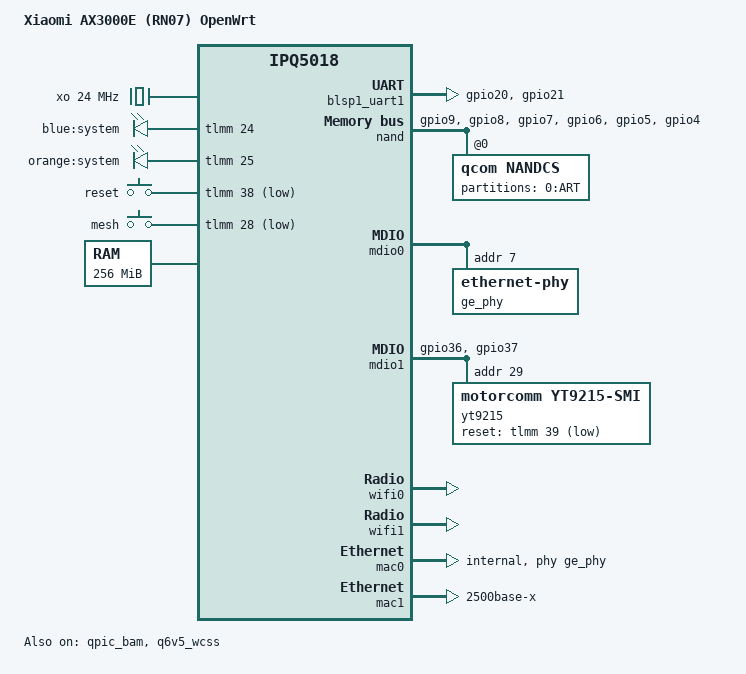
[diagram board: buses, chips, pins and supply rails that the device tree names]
// SPDX-License-Identifier: GPL-2.0-or-later
// Resolved historical device tree. Upstream attribution: NOTICE.md.















/dts-v1/;











/ {
 #address-cells = <2>;
 #size-cells = <2>;
 interrupt-parent = <&intc>;

 clocks {
  sleep_clk: sleep-clk {
   compatible = "fixed-clock";
   clock-frequency = <32000>;
   #clock-cells = <0>;
  };

  xo: xo {
   compatible = "fixed-clock";
   clock-frequency = <24000000>;
   #clock-cells = <0>;
  };
 };

 cpus: cpus {
  #address-cells = <1>;
  #size-cells = <0>;

  CPU0: cpu@0 {
   device_type = "cpu";
   compatible = "arm,cortex-a53";
   reg = <0x0>;
   enable-method = "psci";
   qcom,acc = <&acc0>;
   next-level-cache = <&L2_0>;
   clocks = <&apcs_glb 1>;
   clock-names = "cpu";
   operating-points-v2 = <&cpu_opp_table>;
  };

  CPU1: cpu@1 {
   device_type = "cpu";
   compatible = "arm,cortex-a53";
   enable-method = "psci";
   reg = <0x1>;
   qcom,acc = <&acc1>;
   next-level-cache = <&L2_0>;
   clocks = <&apcs_glb 1>;
   clock-names = "cpu";
   operating-points-v2 = <&cpu_opp_table>;
  };

  L2_0: l2-cache {
   compatible = "cache";
   cache-level = <0x2>;
  };
 };

 cpu_opp_table: opp-table {
  compatible = "operating-points-v2";
  opp-shared;

  opp-800000000 {
   opp-hz = /bits/ 64 <800000000>;
   opp-microvolt = <1100>;
   clock-latency-ns = <200000>;
  };

  opp-1008000000 {
   opp-hz = /bits/ 64 <1008000000>;
   opp-microvolt = <1100>;
   clock-latency-ns = <200000>;
  };
 };

 pmuv8: pmu {
  compatible = "arm,cortex-a53-pmu";
  interrupts = <1 7 ((((1 << (4)) - 1) << 8) |
      4)>;
 };

 psci: psci {
  compatible = "arm,psci-1.0";
  method = "smc";
 };

 firmware {
  scm {
   compatible = "qcom,scm";
   qcom,dload-mode = <&tcsr_boot_misc 0>;
  };
 };

 reserved-memory {
  #address-cells = <2>;
  #size-cells = <2>;
  ranges;

  smem_region:smem@4ab00000 {
   no-map;
   reg = <0x0 0x4ab00000 0x0 0x00100000>;
  };

  tz: tz@4ac00000 {
   reg = <0x0 0x4ac00000 0x0 0x00400000>;
   no-map;
  };
 };

 tcsr_mutex: hwlock {
  compatible = "qcom,tcsr-mutex";
  syscon = <&tcsr_mutex_regs 0 0x80>;
  #hwlock-cells = <1>;
 };

 smem {
  compatible = "qcom,smem";
  memory-region = <&smem_region>;
  hwlocks = <&tcsr_mutex 0>;
 };

 soc: soc {
  #address-cells = <1>;
  #size-cells = <1>;
  ranges = <0 0 0 0xffffffff>;
  dma-ranges;
  compatible = "simple-bus";

  tlmm: pinctrl@1000000 {
   compatible = "qcom,ipq5018-pinctrl";
   reg = <0x01000000 0x300000>;
   interrupts = <0 208 4>;
   gpio-controller;
   #gpio-cells = <2>;
   gpio-ranges = <&tlmm 0 0 80>;
   interrupt-controller;
   #interrupt-cells = <2>;

   serial_1_pins: serial1-pinmux {
    pins = "gpio31", "gpio32", "gpio33", "gpio34";
    function = "blsp1_uart1";
    drive-strength = <8>;
    bias-pull-down;
   };
  };

  gcc: gcc@1800000 {
   compatible = "qcom,gcc-ipq5018";
   reg = <0x01800000 0x80000>;
   clocks = <&xo>, <&sleep_clk>;
   clock-names = "xo", "sleep_clk";
   #clock-cells = <1>;
   #reset-cells = <1>;
  };

  tcsr_boot_misc: syscon@193d100 {
   compatible = "syscon";
   reg = <0x0193d100 0x4>;
  };

  tcsr_mutex_regs: syscon@1905000 {
   compatible = "syscon";
   reg = <0x01905000 0x8000>;
  };

  blsp1_uart1: serial@78af000 {
   compatible = "qcom,msm-uartdm-v1.4", "qcom,msm-uartdm";
   reg = <0x078af000 0x200>;
   interrupts = <0 107 4>;
   clocks = <&gcc 33>,
    <&gcc 25>;
   clock-names = "core", "iface";
   status = "disabled";
  };

  intc: interrupt-controller@b000000 {
   compatible = "qcom,msm-qgic2";
   interrupt-controller;
   #interrupt-cells = <0x3>;
   reg = <0x0b000000 0x1000>,
    <0x0b002000 0x1000>,
    <0x0b001000 0x1000>,
    <0x0b004000 0x1000>;
   interrupts = <1 9 4>;
   ranges = <0x0 0xb00a000 0x1ffa>;

   v2m0: v2m@0 {
    compatible = "arm,gic-v2m-frame";
    msi-controller;
    reg = <0x0 0xffd>;
   };

   v2m1: v2m@1000 {
    compatible = "arm,gic-v2m-frame";
    msi-controller;
    reg = <0x1000 0xffd>;
   };
  };

  apcs_glb: mailbox@b111000 {
   compatible = "qcom,ipq5018-apcs-apps-global";
   reg = <0x0b111000 0x1000>;
   clocks = <&xo>, <&a53pll>;
   clock-names = "xo", "pll";

   #clock-cells = <1>;
   #mbox-cells = <1>;
  };

  a53pll: clock@b116000 {
   compatible = "qcom,ipq5018-a53pll";
   reg = <0x0b116000 0x40>;
   #clock-cells = <0>;
   clocks = <&xo>;
   clock-names = "xo";
  };

  acc0:clock-controller@b188000 {
   compatible = "qcom,arm-cortex-acc";
   reg = <0x0b188000 0x1000>;
  };

  acc1:clock-controller@b198000 {
   compatible = "qcom,arm-cortex-acc";
   reg = <0x0b198000 0x1000>;
  };

  timer {
   compatible = "arm,armv8-timer";
   interrupts = <1 2 ((((1 << (4)) - 1) << 8) | 8)>,
         <1 3 ((((1 << (4)) - 1) << 8) | 8)>,
         <1 4 ((((1 << (4)) - 1) << 8) | 8)>,
         <1 1 ((((1 << (4)) - 1) << 8) | 8)>;
  };

  timer@b120000 {
   #address-cells = <1>;
   #size-cells = <1>;
   ranges;
   compatible = "arm,armv7-timer-mem";
   reg = <0x0b120000 0x1000>;
   clock-frequency = <19200000>;

   frame@b120000 {
    frame-number = <0>;
    interrupts = <0 8 4>,
          <0 7 4>;
    reg = <0x0b121000 0x1000>,
          <0x0b122000 0x1000>;
   };

   frame@b123000 {
    frame-number = <1>;
    interrupts = <0 9 4>;
    reg = <0xb123000 0x1000>;
    status = "disabled";
   };

   frame@b124000 {
    frame-number = <2>;
    interrupts = <0 10 4>;
    reg = <0x0b124000 0x1000>;
    status = "disabled";
   };

   frame@b125000 {
    frame-number = <3>;
    interrupts = <0 11 4>;
    reg = <0x0b125000 0x1000>;
    status = "disabled";
   };

   frame@b126000 {
    frame-number = <4>;
    interrupts = <0 12 4>;
    reg = <0x0b126000 0x1000>;
    status = "disabled";
   };

   frame@b127000 {
    frame-number = <5>;
    interrupts = <0 13 4>;
    reg = <0x0b127000 0x1000>;
    status = "disabled";
   };

   frame@b128000 {
    frame-number = <6>;
    interrupts = <0 14 4>;
    reg = <0x0b128000 0x1000>;
    status = "disabled";
   };
  };

  qpic_bam: dma@7984000 {
   compatible = "qcom,bam-v1.7.0";
   reg = <0x7984000 0x1c000>;
   interrupts = <0 146 4>;
   clocks = <&gcc 103>;
   clock-names = "bam_clk";
   #dma-cells = <1>;
   qcom,ee = <0>;
   status = "disabled";
  };

  nand: qpic-nand@79b0000 {
   compatible = "qcom,ebi2-nandc-bam-v2.1.1";
   reg = <0x79b0000 0x10000>;
   #address-cells = <1>;
   #size-cells = <0>;
   clocks = <&gcc 104>,
    <&gcc 103>,
    <&gcc 105>;
   clock-names = "core", "aon", "io_macro";

   dmas = <&qpic_bam 0>,
    <&qpic_bam 1>,
    <&qpic_bam 2>,
    <&qpic_bam 3>;
   dma-names = "tx", "rx", "cmd", "status";

   qpic,io_macro_clk_rates = <24000000 100000000 200000000 320000000>;
   status = "disabled";

   nandcs@0 {
    compatible = "qcom,nandcs";
    reg = <0>;
    #address-cells = <1>;
    #size-cells = <1>;

    nand-ecc-strength = <4>;
    nand-ecc-step-size = <512>;
    nand-bus-width = <8>;
   };
  };

  mdio0: mdio@88000 {
   #address-cells = <1>;
   #size-cells = <0>;
   compatible = "qcom,ipq5018-mdio", "qcom,qca-mdio";
   reg = <0x88000 0x64>, <0x19475C4 0x4>;
   clocks = <&gcc 71>;
   clock-names = "gcc_mdio_ahb_clk";
   status = "disabled";
  };

  mdio1: mdio@90000 {
   #address-cells = <1>;
   #size-cells = <0>;
   compatible = "qcom,ipq5018-mdio";
   reg = <0x90000 0x64>;
   clocks = <&gcc 72>;
   clock-names = "gcc_mdio_ahb_clk";
   status = "disabled";
  };

  nss-dp-common {
   compatible = "qcom,nss-dp-common";
   qcom,tcsr-base = <0x01937000>;
  };

  ess-uniphy@98000 {
   compatible = "qcom,ess-uniphy";
   reg = <0x98000 0x800>;
   uniphy_access_mode = "local bus";
  };

  ess-instance {
   ess-switch@0x39c00000 {
    compatible = "qcom,ess-switch-ipq50xx";
    reg = <0x39c00000 0x200000>;
    switch_access_mode = "local bus";
    clocks = <&gcc 40>,
      <&gcc 41>,
      <&gcc 134>,
      <&gcc 136>,
      <&gcc 71>,
      <&gcc 72>,
      <&gcc 55>,
      <&gcc 58>,
      <&gcc 60>,
      <&gcc 63>,
      <&gcc 53>,
      <&gcc 54>,
      <&gcc 135>,
      <&gcc 137>,
      <&gcc 57>,
      <&gcc 59>,
      <&gcc 62>,
      <&gcc 64>,
      <&gcc 110>,
      <&gcc 112>,
      <&gcc 56>,
      <&gcc 61>;
    clock-names = "cmn_ahb_clk",
           "cmn_sys_clk",
           "uniphy_ahb_clk",
           "uniphy_sys_clk",
           "gcc_mdio0_ahb_clk",
           "gcc_mdio1_ahb_clk",
           "gcc_gmac0_cfg_clk",
           "gcc_gmac0_sys_clk",
           "gcc_gmac1_cfg_clk",
           "gcc_gmac1_sys_clk",
           "uniphy0_port1_rx_clk",
           "uniphy0_port1_tx_clk",
           "uniphy1_port5_rx_clk",
           "uniphy1_port5_tx_clk",
           "nss_port1_rx_clk",
           "nss_port1_tx_clk",
           "nss_port2_rx_clk",
           "nss_port2_tx_clk",
           "gcc_snoc_gmac0_ahb_clk",
           "gcc_snoc_gmac1_ahb_clk",
           "gcc_gmac0_ptp_clk",
           "gcc_gmac1_ptp_clk";
    resets = <&gcc 17>,
      <&gcc 93>,
      <&gcc 22>,
      <&gcc 25>,
      <&gcc 110>,
      <&gcc 111>;
    reset-names = "gephy_bcr_rst",
           "uniphy_bcr_rst",
           "gmac0_bcr_rst",
           "gmac1_bcr_rst",
           "uniphy1_soft_rst",
           "gephy_misc_rst";
   };
  };

  q6v5_wcss: remoteproc@cd00000 {
   compatible = "qcom,ipq5018-q6-mpd";
   #address-cells = <1>;
   #size-cells = <1>;
   ranges;

   reg = <0x0cd00000 0x4040>;

   interrupts-extended = <&intc 0 291 1>,
           <&wcss_smp2p_in 0 0>,
           <&wcss_smp2p_in 1 0>,
           <&wcss_smp2p_in 2 0>,
           <&wcss_smp2p_in 3 0>;
   interrupt-names = "wdog",
       "fatal",
       "ready",
       "handover",
       "stop-ack";

   resets = <&gcc 109>,
     <&gcc 100>,
     <&gcc 108>,
     <&gcc 11>;
   reset-names = "wcss_aon_reset",
          "wcss_reset",
          "wcss_q6_reset",
          "ce_reset";

   clocks = <&gcc 87>,
     <&gcc 146>,
     <&gcc 157>,
     <&gcc 145>,
     <&gcc 147>,
     <&gcc 85>,
     <&gcc 86>,
     <&gcc 88>,
     <&gcc 89>,
     <&gcc 148>;
   clock-names = "gcc_q6_axis_clk",
          "gcc_wcss_ahb_s_clk",
          "gcc_wcss_ecahb_clk",
          "gcc_wcss_acmt_clk",
          "gcc_wcss_axi_m_clk",
          "gcc_q6_axim_clk",
          "gcc_q6_axim2_clk",
          "gcc_q6_ahb_clk",
          "gcc_q6_ahb_s_clk",
          "gcc_wcss_axi_s_clk";

   qcom,smem-states = <&wcss_smp2p_out 0>,
        <&wcss_smp2p_out 1>;
   qcom,smem-state-names = "shutdown",
      "stop";

   glink-edge {
    interrupts = <0 179 1>;
    qcom,remote-pid = <1>;
    mboxes = <&apcs_glb 8>;

    qrtr_requests {
     qcom,glink-channels = "IPCRTR";
    };
   };
  };

  wifi0: wifi@c000000 {
   compatible = "qcom,cnss-qca5018", "qcom,ipq5018-wifi";
   reg = <0xc000000 0x1000000>;

   qcom,rproc = <&q6v5_wcss>;
   interrupts = <0 288 1>,
    <0 289 1>,
    <0 290 1>,
    <0 292 1>,
    <0 293 1>,
    <0 294 1>,
    <0 295 1>,
    <0 296 1>,
    <0 297 1>,
    <0 298 1>,
    <0 299 1>,
    <0 300 1>,
    <0 301 1>,
    <0 302 1>,
    <0 303 1>,
    <0 304 1>,
    <0 305 1>,
    <0 306 1>,
    <0 307 1>,
    <0 308 1>,
    <0 309 1>,
    <0 310 1>,
    <0 311 1>,
    <0 312 1>,
    <0 313 1>,

    <0 314 1>,
    <0 315 1>,
    <0 316 1>,
    <0 317 1>,
    <0 318 1>,
    <0 319 1>,
    <0 320 1>,
    <0 321 1>,
    <0 322 1>,
    <0 323 1>,
    <0 324 1>,
    <0 325 1>,

    <0 326 1>,

    <0 327 1>,
    <0 328 1>,
    <0 329 1>,
    <0 330 1>,
    <0 331 1>,
    <0 332 1>,

    <0 333 1>,
    <0 334 1>,
    <0 335 1>,
    <0 342 1>,
    <0 336 1>,
    <0 337 1>,
    <0 338 1>,
    <0 339 1>;

   interrupt-names = "misc-pulse1",
     "misc-latch",
     "sw-exception",
     "ce0",
     "ce1",
     "ce2",
     "ce3",
     "ce4",
     "ce5",
     "ce6",
     "ce7",
     "ce8",
     "ce9",
     "ce10",
     "ce11",
     "host2wbm-desc-feed",
     "host2reo-re-injection",
     "host2reo-command",
     "host2rxdma-monitor-ring3",
     "host2rxdma-monitor-ring2",
     "host2rxdma-monitor-ring1",
     "reo2ost-exception",
     "wbm2host-rx-release",
     "reo2host-status",
     "reo2host-destination-ring4",
     "reo2host-destination-ring3",
     "reo2host-destination-ring2",
     "reo2host-destination-ring1",
     "rxdma2host-monitor-destination-mac3",
     "rxdma2host-monitor-destination-mac2",
     "rxdma2host-monitor-destination-mac1",
     "ppdu-end-interrupts-mac3",
     "ppdu-end-interrupts-mac2",
     "ppdu-end-interrupts-mac1",
     "rxdma2host-monitor-status-ring-mac3",
     "rxdma2host-monitor-status-ring-mac2",
     "rxdma2host-monitor-status-ring-mac1",
     "host2rxdma-host-buf-ring-mac3",
     "host2rxdma-host-buf-ring-mac2",
     "host2rxdma-host-buf-ring-mac1",
     "rxdma2host-destination-ring-mac3",
     "rxdma2host-destination-ring-mac2",
     "rxdma2host-destination-ring-mac1",
     "host2tcl-input-ring4",
     "host2tcl-input-ring3",
     "host2tcl-input-ring2",
     "host2tcl-input-ring1",
     "wbm2host-tx-completions-ring4",
     "wbm2host-tx-completions-ring3",
     "wbm2host-tx-completions-ring2",
     "wbm2host-tx-completions-ring1",
     "tcl2host-status-ring";

   status = "disabled";
  };

  wifi1: wifi1@c000000 {
   compatible = "qcom,cnss-qcn6122", "qcom,qcn6122-wifi";
   msi-parent = <&v2m0>;
   interrupts = <0 416 1>;
   status = "disabled";
  };

  wifi2: wifi2@c000000 {
   compatible = "qcom,cnss-qcn6122", "qcom,qcn6122-wifi";
   msi-parent = <&v2m0>;
   interrupts = <0 448 1>;
   status = "disabled";
  };

  wifi3: wifi3@f00000 {
   compatible = "qcom,cnss-qcn9000";
   qcom,wlan-ramdump-dynamic = <0x400000>;
   qrtr_node_id = <0x20>;
   qca,auto-restart;
   status = "disabled";
  };

  wifi4: wifi4@f00000 {
   compatible = "qcom,cnss-qcn9000";
   qcom,wlan-ramdump-dynamic = <0x400000>;
   qrtr_node_id = <0x21>;
   qca,auto-restart;
   status = "disabled";
  };

  wcss: wcss-smp2p {
   compatible = "qcom,smp2p";
   qcom,smem = <435>, <428>;

   interrupt-parent = <&intc>;
   interrupts = <0 177 1>;

   mboxes = <&apcs_glb 9>;

   qcom,local-pid = <0>;
   qcom,remote-pid = <1>;

   wcss_smp2p_out: master-kernel {
    qcom,entry-name = "master-kernel";
    qcom,smp2p-feature-ssr-ack;
    #qcom,smem-state-cells = <1>;
   };

   wcss_smp2p_in: slave-kernel {
    qcom,entry-name = "slave-kernel";
    interrupt-controller;
    #interrupt-cells = <2>;
   };
  };
 };
};


/ {
 pmu {
  compatible = "arm,cortex-a7-pmu";
 };
};

/ {
 model = "Xiaomi AX3000E (RN07) RAM bring-up";
 compatible = "xiaomi,rn07", "qcom,ipq5018";

 #address-cells = <2>;
 #size-cells = <2>;
 interrupt-parent = <&intc>;

 memory@40000000 {
  device_type = "memory";

  reg = <0 0x40000000 0 0x10000000>;
 };

 aliases {
  serial0 = &blsp1_uart1;

  ethernet0 = &mac0;
  ethernet1 = &mac1;

  led-boot = &led_system_blue;
  led-failsafe = &led_system_orange;
  led-running = &led_system_blue;
  led-upgrade = &led_system_orange;
 };

 chosen {

  bootargs = "console=ttyMSM0,115200n8";
  bootargs-append = " root=/dev/ram0 rdinit=/init";
  stdout-path = "serial0:115200n8";
 };

 reserved-memory {

  nss@40000000 {
   no-map;
   reg = <0 0x40000000 0 0x800000>;
  };
  uboot@4a800000 {
   no-map;
   reg = <0 0x4a800000 0 0x200000>;
  };
  sbl@4aa00000 {
   no-map;
   reg = <0 0x4aa00000 0 0x100000>;
  };

  q6_mem_regions: q6_mem_regions@4b000000 {
   no-map;
   reg = <0x0 0x4b000000 0x0 0x3000000>;
  };

  rsvd1@4e000000 {
   no-map;
   reg = <0 0x4e000000 0 0x80000>;
  };
  rsvd2@4e080000 {
   no-map;
   reg = <0 0x4e080000 0 0x80000>;
  };
 };

 thermal-zones {
  status = "ok";
 };
};

&tlmm {
 #address-cells = <0>;
 blsp_uart0_pins: blsp_uart0_pins {
  pins =
   "gpio20",
   "gpio21";
  function = "blsp0_uart0";
  drive-strength = <8>;
  bias-disable;
 };

 qspi_nand_pins: qspi_nand_pins {
  clock {
   pins = "gpio9";
   function = "qspi_clk";
   drive-strength = <8>;
   bias-disable;
  };

  cs {
   pins = "gpio8";
   function = "qspi_cs";
   drive-strength = <8>;
   bias-disable;
  };

  data0 {
   pins = "gpio7";
   function = "qspi0";
   drive-strength = <8>;
   bias-disable;
  };

  data1 {
   pins = "gpio6";
   function = "qspi1";
   drive-strength = <8>;
   bias-disable;
  };

  data2 {
   pins = "gpio5";
   function = "qspi2";
   drive-strength = <8>;
   bias-disable;
  };

  data3 {
   pins = "gpio4";
   function = "qspi3";
   drive-strength = <8>;
   bias-disable;
  };
 };

 mdio1_pins: mdio1_pins {
  mdc {
   pins = "gpio36";
   function = "mdc";
   drive-strength = <8>;
   bias-pull-up;
  };

  mdio {
   pins = "gpio37";
   function = "mdio";
   drive-strength = <8>;
   bias-pull-up;
  };
 };

 leds_pins: leds_pins {
  led_system_blue {
   pins = "gpio24";
   function = "gpio";
   drive-strength = <8>;
   bias-pull-down;
  };

  led_system_orange {
   pins = "gpio25";
   function = "gpio";
   drive-strength = <8>;
   bias-pull-down;
  };


 };

 button_pins: button_pins {
  button_reset {
   pins = "gpio38";
   function = "gpio";
   drive-strength = <8>;
   bias-pull-up;
  };

  button_mesh {
   pins = "gpio28";
   function = "gpio";
   drive-strength = <8>;
   bias-pull-up;
  };
 };
};

&blsp1_uart1 {
 pinctrl-0 = <&blsp_uart0_pins>;
 pinctrl-names = "default";
 status = "ok";
};

&qpic_bam {
 status = "disabled";
};

&nand {
 pinctrl-0 = <&qspi_nand_pins>;
 pinctrl-names = "default";
 status = "disabled";
};

&soc {
 dma-ranges = <0 0 0 0xffffffff>;
 leds {
  compatible = "gpio-leds";
  pinctrl-0 = <&leds_pins>;
  pinctrl-names = "default";

  led_system_blue: led_system_blue {
   label = "blue:system";
   gpios = <&tlmm 24 0>;
   default-state = "on";
  };

  led_system_orange: led_system_orange {
   label = "orange:system";
   gpios = <&tlmm 25 0>;
  };


 };

 button {
  compatible = "gpio-keys";
  pinctrl-0 = <&button_pins>;
  pinctrl-names = "default";

  button_reset {
   label = "reset";
   gpios = <&tlmm 38 1>;
   linux,input-type = <0x01>;
   linux,code = <0x198>;
   debounce-interval = <60>;
  };

  button_mesh {
   label = "mesh";
   gpios = <&tlmm 28 1>;
   linux,input-type = <0x01>;
   linux,code = <0x211>;
   debounce-interval = <60>;
  };
 };

 ess-instance {
  #address-cells = <1>;
  #size-cells = <1>;
  ranges;
  num_devices = <1>;





  ess-switch@0x39c00000 {
   compatible = "qcom,ess-switch-ipq50xx";
   device_id = <0>;

   cmnblk_clk = "internal_96MHz";


   switch_mac_mode = <0xc>;


   qcom,port_phyinfo {

    port@0 {
     port_id = <1>;

     mdiobus = <&mdio0>;
     phy_address = <7>;

     phy_dac = <0x10 0x10>;
    };


    port@1 {
     port_id = <2>;

     forced-speed = <2500>;
     forced-duplex = <1>;
    };
   };
  };
 };


 mac0: dp1 {
  compatible = "qcom,nss-dp";
  device_type = "network";
  qcom,id = <1>;

  reg = <0x39C00000 0x10000>;
  interrupts = <0 101 4>;
  clocks = <&gcc 111>;
  clock-names = "nss-snoc-gmac-axi-clk";

  qcom,mactype = <2>;
  local-mac-address = [000000000000];
  phy-handle = <&ge_phy>;
  phy-mode = "internal";
 };


 mac1: dp2 {
  compatible = "qcom,nss-dp";
  device_type = "network";
  qcom,id = <2>;

  reg = <0x39D00000 0x10000>;
  interrupts = <0 109 4>;
  clocks = <&gcc 113>;
  clock-names = "nss-snoc-gmac-axi-clk";

  qcom,mactype = <2>;
  local-mac-address = [000000000000];
  phy-mode = "2500base-x";
 };
};

&mdio0 {
 status = "ok";

 resets = <&gcc 18>;
 reset-names = "phy";


 ge_phy: ethernet-phy@7 {
  reg = <7>;
 };
};

&mdio1 {
 pinctrl-0 = <&mdio1_pins>;
 pinctrl-names = "default";
 status = "ok";


 yt9215: switch@1d {
  compatible = "motorcomm,yt9215-smi";
  reg = <29>;
  switchid = <0>;

  reset-gpios = <&tlmm 39 1>;
  reset-assert-us = <100000>;
  reset-deassert-us = <150000>;

  ports {
   #address-cells = <1>;
   #size-cells = <0>;

   port@0 {
    reg = <0>;
   };


   port@1 {
    reg = <1>;
   };


   port@2 {
    reg = <2>;
   };


   port@3 {
    reg = <3>;
   };


   port@4 {
    reg = <4>;
   };


   port@8 {
    reg = <8>;
    phy-mode = "2500base-x";

    fixed-link {
     speed = <2500>;
     full-duplex;
    };
   };
  };
 };
};

&intc {
 #address-cells = <1>;
 #size-cells = <1>;
};


&q6v5_wcss { status = "disabled"; };
&wifi0 { qcom,board_id = <0x23>; status = "disabled"; };
&wifi1 { qcom,board_id = <0x60>; status = "disabled"; };

/ {
    model = "Xiaomi AX3000E (RN07) wireless diagnostic";
};

&qpic_bam { status = "okay"; };
&nand {
    status = "okay";
    xiaomi,slot1-install;
    nandcs@0 {
        partitions {
            compatible = "fixed-partitions";
            #address-cells = <1>;
            #size-cells = <1>;

            partition@700000 {
                label = "0:ART";
                reg = <0x700000 0x100000>;
                read-only;
            };
        };
    };
};

&q6v5_wcss {
 memory-region = <&q6_mem_regions>;

 qcom,rproc = <&q6v5_wcss>;
 firmware = "IPQ5018/q6_fw.mdt";

 qcom,bootargs_smem = <507>;
 boot-args = < 0x2
                         4
                         2
                         18
                         0 0>;

 status = "ok";


 q6_wcss_pd1: remoteproc_pd1@4ab000 {
  compatible = "qcom,ipq5018-wcss-ahb-mpd";

  resets =
   <&gcc 109>,
   <&gcc 100>,
   <&gcc 11>;
  reset-names =
   "wcss_aon_reset",
   "wcss_reset",
   "ce_reset";

  clocks =
   <&gcc 146>,
   <&gcc 145>,
   <&gcc 147>;
  clock-names =
   "gcc_wcss_ahb_s_clk",
     "gcc_wcss_acmt_clk",
     "gcc_wcss_axi_m_clk";

  reg = <0x4ab000 0x20>;
  reg-names = "rmb";



  interrupts-extended =
   <&wcss_smp2p_in 8 0>,
   <&wcss_smp2p_in 9 0>,
   <&wcss_smp2p_in 12 0>,
   <&wcss_smp2p_in 11 0>;
  interrupt-names =
   "fatal",
   "ready",
   "spawn-ack",
   "stop-ack";

  qcom,smem-states =
   <&wcss_smp2p_out 8>,
   <&wcss_smp2p_out 9>,
   <&wcss_smp2p_out 10>;
  qcom,smem-state-names =
   "shutdown",
   "stop",
   "spawn";

  firmware = "IPQ5018/q6_fw.mdt";
  m3_firmware = "IPQ5018/m3_fw.mdt";
 };


 q6_wcss_pd2: remoteproc_pd2 {
  compatible = "qcom,ipq5018-wcss-pcie-mpd";

  interrupts-extended =
   <&wcss_smp2p_in 16 0>,
   <&wcss_smp2p_in 17 0>,
   <&wcss_smp2p_in 20 0>,
   <&wcss_smp2p_in 19 0>;
  interrupt-names =
   "fatal",
   "ready",
   "spawn-ack",
   "stop-ack";

  qcom,smem-states =
   <&wcss_smp2p_out 16>,
   <&wcss_smp2p_out 17>,
   <&wcss_smp2p_out 18>;
  qcom,smem-state-names =
   "shutdown",
   "stop",
   "spawn";

  firmware = "IPQ5018/q6_fw.mdt";
  m3_firmware = "qcn6122/m3_fw.mdt";
 };
};

&wifi0 {

 qcom,multipd_arch;
 qcom,rproc = <&q6_wcss_pd1>;
 qcom,userpd-subsys-name = "q6v5_wcss_userpd1";

 qcom,board_id = <0x23>;






 qcom,ath11k-fw-memory-mode = <2>;
 qcom,bdf-addr = <0x4c400000>;

 status = "ok";
};

&wifi1 {

 qcom,multipd_arch;
 qcom,rproc = <&q6_wcss_pd2>;
 qcom,userpd-subsys-name = "q6v5_wcss_userpd2";

 qcom,board_id = <0x60>;






 qcom,ath11k-fw-memory-mode = <2>;
 qcom,bdf-addr = <0x4d100000>;
 qcom,m3-dump-addr = <0x4df00000>;

 status = "ok";
};
/ { model = "Xiaomi AX3000E (RN07) OpenWrt"; };
&wifi0 { qcom,bdf-addr = <0x4c000000>; };
&wifi1 { qcom,bdf-addr = <0x4cf00000>; };
